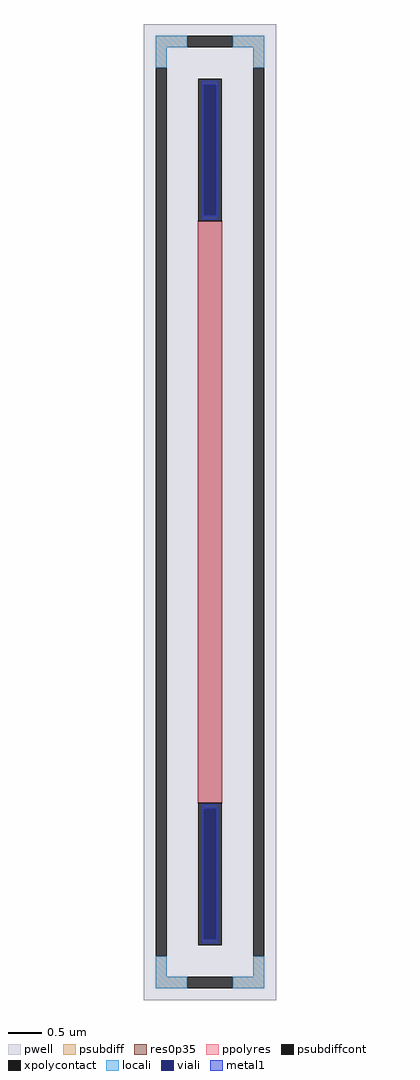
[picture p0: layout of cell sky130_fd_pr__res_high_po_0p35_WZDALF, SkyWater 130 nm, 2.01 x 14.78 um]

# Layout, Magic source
magic
tech sky130A
magscale 1 2
<< pwell >>
rect -201 -1478 201 1478
<< psubdiff >>
rect -165 1408 -69 1442
rect 69 1408 165 1442
rect -165 1346 -131 1408
rect 131 1346 165 1408
rect -165 -1408 -131 -1346
rect 131 -1408 165 -1346
rect -165 -1442 -69 -1408
rect 69 -1442 165 -1408
<< psubdiffcont >>
rect -69 1408 69 1442
rect -165 -1346 -131 1346
rect 131 -1346 165 1346
rect -69 -1442 69 -1408
<< xpolycontact >>
rect -35 880 35 1312
rect -35 -1312 35 -880
<< ppolyres >>
rect -35 -880 35 880
<< locali >>
rect -165 1408 -69 1442
rect 69 1408 165 1442
rect -165 1346 -131 1408
rect 131 1346 165 1408
rect -165 -1408 -131 -1346
rect 131 -1408 165 -1346
rect -165 -1442 -69 -1408
rect 69 -1442 165 -1408
<< viali >>
rect -19 897 19 1294
rect -19 -1294 19 -897
<< metal1 >>
rect -25 1294 25 1306
rect -25 897 -19 1294
rect 19 897 25 1294
rect -25 885 25 897
rect -25 -897 25 -885
rect -25 -1294 -19 -897
rect 19 -1294 25 -897
rect -25 -1306 25 -1294
<< res0p35 >>
rect -37 -882 37 882
<< properties >>
string FIXED_BBOX -148 -1425 148 1425
string gencell sky130_fd_pr__res_high_po_0p35
string library sky130
string parameters w 0.350 l 8.8 m 1 nx 1 wmin 0.350 lmin 0.50 rho 319.8 val 9.153k dummy 0 dw 0.0 term 194.82 sterm 0.0 caplen 0 guard 1 glc 1 grc 1 gtc 1 gbc 1 compatible {sky130_fd_pr__res_high_po_0p35  sky130_fd_pr__res_high_po_0p69 sky130_fd_pr__res_high_po_1p41  sky130_fd_pr__res_high_po_2p85 sky130_fd_pr__res_high_po_5p73} snake 0 full_metal 1 wmax 0.350 vias 1 n_guard 0 hv_guard 0 viagb 0 viagt 0 viagl 0 viagr 0
<< end >>
